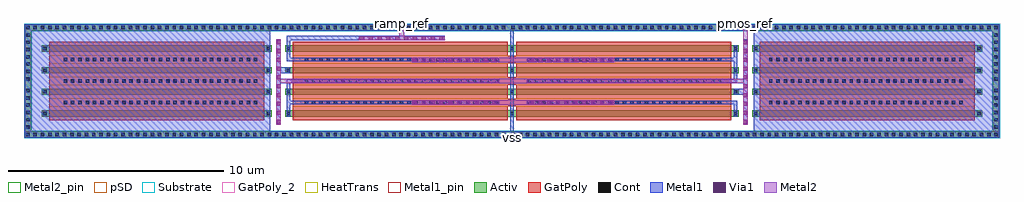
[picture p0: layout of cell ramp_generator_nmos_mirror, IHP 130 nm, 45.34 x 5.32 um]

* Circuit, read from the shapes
.subckt ramp_generator_nmos_mirror pmos_ref ramp_ref vss
XM1 vss vss vss vss sg13_lv_nmos w=0.3u l=10u m=8
XM2 vss ramp_ref ramp_ref vss sg13_lv_nmos w=0.3u l=10u m=6
XM3 vss ramp_ref pmos_ref vss sg13_lv_nmos w=0.3u l=10u m=2
.ends

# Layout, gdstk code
import gdstk
lib = gdstk.Library(unit=1e-6, precision=1e-09)
def R(c, l, rs):  # rectangles x0, y0, x1, y1
    for r in rs: c.add(gdstk.rectangle(r[:2], r[2:], *l))
def A(c, l, x, y, w, h, nx, ny, dx, dy):  # array of equal rectangles
    R(c, l, [(x+i*dx, y+j*dy, x+i*dx+w, y+j*dy+h) for i in range(nx) for j in range(ny)])
def P(c, l, *ps):  # polygons
    for p in ps: c.add(gdstk.Polygon(p, *l))
Activ = (1, 0)
GatPoly = (5, 0)
GatPoly_2 = (5, 2)
Cont = (6, 0)
Metal1 = (8, 0)
Metal1_pin = (8, 2)
Metal2 = (10, 0)
Metal2_pin = (10, 2)
pSD = (14, 0)
Via1 = (19, 0)
Substrate = (40, 0)
HeatTrans = (51, 0)

nmos = lib.new_cell('nmos')
A(nmos, Activ, 0, 0, 0.3, 0.3, 3, 1, 10.38, 0)
R(nmos, Activ, [(0,0,21.06,0.3)])
R(nmos, GatPoly, [(0.34,-0.18,10.34,0.48), (10.72,-0.18,20.72,0.48)])
R(nmos, GatPoly_2, [(0.34,-0.18,10.34,0.48)])
A(nmos, Cont, 0.07, 0.07, 0.16, 0.16, 3, 1, 10.38, 0)
A(nmos, Metal1, 0.07, 0, 0.16, 0.3, 3, 1, 10.38, 0)
R(nmos, Metal1_pin, [(0.07,0,0.23,0.3), (10.45,0,10.61,0.3)])
R(nmos, HeatTrans, [(0.34,-0.18,10.34,0.48), (10.72,-0.18,20.72,0.48)])
nmos.add(gdstk.Label('nmos', (5.34,0.15), layer=63, texttype=0))
nmos.add(gdstk.Label('nmos', (5.34,0.15), layer=51, texttype=0))
nmos.add(gdstk.Label('nmos', (15.72,0.15), layer=51, texttype=0))

nmos_1 = lib.new_cell('nmos$1')
R(nmos_1, Activ, [(0,0,0.3,0.3), (0,0,10.68,0.3), (10.38,0,10.68,0.3)])
R(nmos_1, GatPoly, [(0.34,-0.18,10.34,0.48)])
R(nmos_1, GatPoly_2, [(0.34,-0.18,10.34,0.48)])
R(nmos_1, Cont, [(0.07,0.07,0.23,0.23), (10.45,0.07,10.61,0.23)])
R(nmos_1, Metal1, [(0.07,0,0.23,0.3), (10.45,0,10.61,0.3)])
R(nmos_1, Metal1_pin, [(0.07,0,0.23,0.3), (10.45,0,10.61,0.3)])
R(nmos_1, HeatTrans, [(0.34,-0.18,10.34,0.48)])
nmos_1.add(gdstk.Label('nmos', (5.34,0.15), layer=63, texttype=0))
nmos_1.add(gdstk.Label('nmos', (5.34,0.15), layer=51, texttype=0))

guard_ring_2 = lib.new_cell('guard_ring$2')
R(guard_ring_2, Activ, [(-22.64,-2.63,22.64,-2.33), (-22.64,-2.33,-22.34,2.33), (22.34,-2.33,22.64,2.33)])
P(guard_ring_2, Activ, [(-22.64,-2.63),(-22.64,2.33),(-22.34,2.33),(-22.34,-2.33),(22.34,-2.33),(22.34,2.33),(-22.64,2.33),(-22.64,2.63),(22.64,2.63),(22.64,-2.63)])
A(guard_ring_2, Cont, -22.57, -2.56, 0.16, 0.16, 66, 2, 0.34, 4.96)
A(guard_ring_2, Cont, -0.03, -2.56, 0.16, 0.16, 67, 2, 0.34, 4.96)
A(guard_ring_2, Cont, -22.57, -2.22, 0.16, 0.16, 1, 6, 0, 0.34)
A(guard_ring_2, Cont, 22.41, -2.22, 0.16, 0.16, 1, 6, 0, 0.34)
A(guard_ring_2, Cont, -22.57, 0.02, 0.16, 0.16, 1, 7, 0, 0.34)
A(guard_ring_2, Cont, 22.41, 0.02, 0.16, 0.16, 1, 7, 0, 0.34)
R(guard_ring_2, Metal1, [(-22.64,-2.63,22.64,-2.33), (-22.64,-2.33,-22.34,2.33), (22.34,-2.33,22.64,2.33), (-22.64,2.33,22.64,2.63)])
R(guard_ring_2, pSD, [(-22.67,-2.66,22.67,-2.3), (-22.67,-2.3,-22.31,2.3), (22.31,-2.3,22.67,2.3)])
P(guard_ring_2, pSD, [(-22.67,-2.66),(-22.67,2.3),(-22.31,2.3),(-22.31,-2.3),(22.31,-2.3),(22.31,2.3),(-22.67,2.3),(-22.67,2.66),(22.67,2.66),(22.67,-2.66)])
R(guard_ring_2, Substrate, [(-22.67,-2.66,22.67,-2.3), (-22.67,-2.3,-22.31,2.3), (22.31,-2.3,22.67,2.3)])
P(guard_ring_2, Substrate, [(-22.67,-2.66),(-22.67,2.3),(-22.31,2.3),(-22.31,-2.3),(22.31,-2.3),(22.31,2.3),(-22.67,2.3),(-22.67,2.66),(22.67,2.66),(22.67,-2.66)])
guard_ring_2.add(gdstk.Label('sub!', (0,-2.48), layer=63, texttype=0))

via_stack = lib.new_cell('via_stack')
R(via_stack, GatPoly, [(-4.57,-0.15,4.57,0.15)])
A(via_stack, Cont, -4.5, -0.08, 0.16, 0.16, 27, 1, 0.34, 0)
R(via_stack, Metal1, [(-4.55,-0.08,4.55,0.08)])

via_stack_4 = lib.new_cell('via_stack$4')
R(via_stack_4, Metal1, [(-1.99,-0.105,1.99,0.105)])
R(via_stack_4, Metal2, [(-1.99,-0.1,1.99,0.1)])
A(via_stack_4, Via1, -1.94, -0.095, 0.19, 0.19, 10, 1, 0.41, 0)

via_stack_7 = lib.new_cell('via_stack$7')
R(via_stack_7, Metal1, [(-0.105,-1.99,0.105,1.99)])
R(via_stack_7, Metal2, [(-0.1,-1.99,0.1,1.99)])
A(via_stack_7, Via1, -0.095, -1.94, 0.19, 0.19, 1, 10, 0, 0.41)

ramp_generator_nmos_mirr = lib.new_cell('ramp_generator_nmos_mirror')
A(ramp_generator_nmos_mirr, GatPoly, -10.19, -1.17, 20.38, 0.34, 1, 3, 0, 1)
R(ramp_generator_nmos_mirr, GatPoly, [(-21.5,-1.83,-11.5,1.17), (11.5,-1.17,21.5,1.17)])
R(ramp_generator_nmos_mirr, Metal1, [(-22.64,-2.63,-11.23,2.63), (-0.08,-2.63,0.08,2.63), (11.23,-2.63,22.64,2.63), (-10.46,-1.65,-10.3,0.085), (10.3,-1.65,10.46,-0.92), (-10.46,-1.08,-9.515,-0.92), (9.45,-1.08,10.46,-0.92), (10.3,-0.65,10.95,-0.35), (-10.46,-0.075,-9.42,0.085), (9.56,-0.075,10.46,0.085), (10.3,-0.075,10.46,1.65), (-10.945,0.35,-10.3,0.65), (-10.46,0.92,-10.3,2.095), (-10.46,0.92,-9.415,1.08), (9.58,0.92,10.46,1.08), (-10.46,1.885,-6.995,2.095)])
R(ramp_generator_nmos_mirr, Metal1_pin, [(-22.64,-2.63,22.64,-2.33)])
R(ramp_generator_nmos_mirr, Metal2, [(-1.55,-1.105,2.26,-0.905), (-10.945,-0.1,10.945,0.1), (-1.55,0.88,2.26,1.08), (10.745,1.715,10.945,2.66), (-5.235,1.895,-5,2.66)])
R(ramp_generator_nmos_mirr, Metal2_pin, [(10.745,1.715,10.945,2.66), (-5.235,1.895,-5,2.66)])
r = gdstk.Reference(nmos, (-10.53,-1.65)); r.repetition = gdstk.Repetition(1, 4, v1=(0,0), v2=(0,1)); ramp_generator_nmos_mirr.add(r)
r = gdstk.Reference(nmos_1, (-21.84,-1.65)); r.repetition = gdstk.Repetition(2, 4, v1=(33,0), v2=(0,1)); ramp_generator_nmos_mirr.add(r)
ramp_generator_nmos_mirr.add(gdstk.Reference(guard_ring_2, (0,0)))
ramp_generator_nmos_mirr.add(gdstk.Reference(via_stack, (5.225,-1)))
ramp_generator_nmos_mirr.add(gdstk.Reference(via_stack, (-5.135,-1)))
ramp_generator_nmos_mirr.add(gdstk.Reference(via_stack, (5.225,0.005)))
ramp_generator_nmos_mirr.add(gdstk.Reference(via_stack, (-5.135,0.005)))
ramp_generator_nmos_mirr.add(gdstk.Reference(via_stack, (5.225,1)))
ramp_generator_nmos_mirr.add(gdstk.Reference(via_stack_4, (-2.665,0.98)))
ramp_generator_nmos_mirr.add(gdstk.Reference(via_stack_4, (2.75,0.98)))
ramp_generator_nmos_mirr.add(gdstk.Reference(via_stack_7, (-10.845,-0.04)))
ramp_generator_nmos_mirr.add(gdstk.Reference(via_stack_7, (10.845,-0.04)))
ramp_generator_nmos_mirr.add(gdstk.Reference(via_stack_4, (-2.665,-1.005)))
ramp_generator_nmos_mirr.add(gdstk.Reference(via_stack_4, (2.75,-1.005)))
ramp_generator_nmos_mirr.add(gdstk.Reference(via_stack, (-5.135,1)))
ramp_generator_nmos_mirr.add(gdstk.Reference(via_stack, (-16.33,-1)))
ramp_generator_nmos_mirr.add(gdstk.Reference(via_stack, (-16.33,0.005)))
ramp_generator_nmos_mirr.add(gdstk.Reference(via_stack, (-16.33,1)))
ramp_generator_nmos_mirr.add(gdstk.Reference(via_stack, (16.44,-1)))
ramp_generator_nmos_mirr.add(gdstk.Reference(via_stack, (16.44,0.005)))
ramp_generator_nmos_mirr.add(gdstk.Reference(via_stack, (16.44,1)))
ramp_generator_nmos_mirr.add(gdstk.Reference(via_stack_4, (-5.125,1.99)))
ramp_generator_nmos_mirr.add(gdstk.Label('vss', (0,-2.63), layer=8, texttype=2))
ramp_generator_nmos_mirr.add(gdstk.Label('ramp_ref', (-5.118,2.66), layer=10, texttype=2))
ramp_generator_nmos_mirr.add(gdstk.Label('pmos_ref', (10.845,2.66), layer=10, texttype=2))

lib.write_gds('ramp_generator_nmos_mirror.gds')
